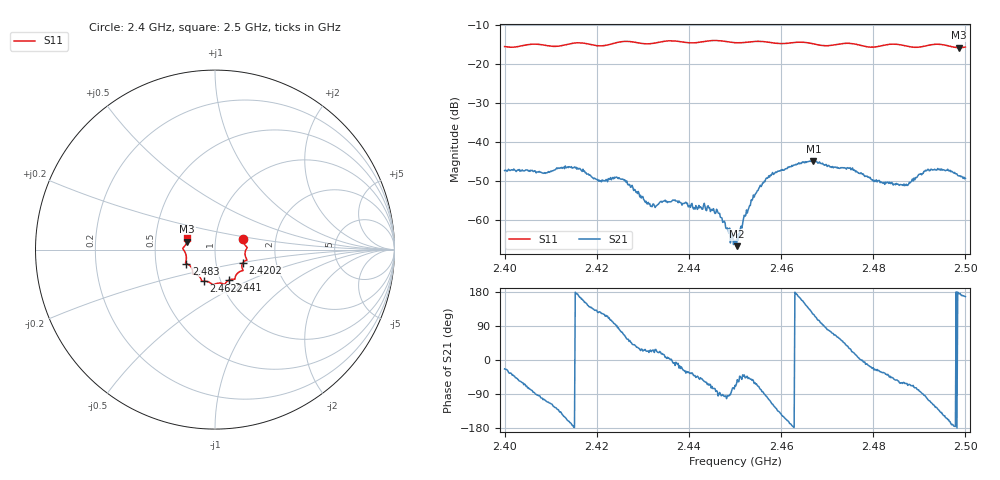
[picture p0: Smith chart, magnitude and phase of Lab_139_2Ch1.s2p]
# Hz S RI R
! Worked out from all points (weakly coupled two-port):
!   601 points, 2.4 GHz to 2.5 GHz, reference 50 ohm
!   highest |S21| = -44.82 dB at 2.467 GHz (marker M1); lowest = -66.7 dB at 2.4503 GHz (marker M2)
!   lowest |S11| = -15.8 dB at 2.4987 GHz (marker M3), VSWR 1.39, Z = 36.4 + j3.28 ohm
!   |S11| at or under -10 dB: start of sweep to end of sweep
!   S12 and S22 are empty: the file has one direction only
!   S11 on the Smith chart (normalised r, x): 2.4 GHz: 1.36, +0.17; 2.4202 GHz: 1.35, -0.20; 2.441 GHz: 1.10, -0.39; 2.4622 GHz: 0.83, -0.30; 2.483 GHz: 0.72, -0.12; 2.5 GHz: 0.73, +0.09
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2.4e9  0.1562 0.0605  0.00396 -0.00173  0 0  0 0
2.416667e9  0.1776 -0.0583  -0.00409 0.00143  0 0  0 0
2.420167e9  0.1561 -0.0719  -0.00195 0.00269  0 0  0 0
2.425333e9  0.1563 -0.1141  0.000937 0.00321  0 0  0 0
2.431333e9  0.1225 -0.1346  0.00151 0.000548  0 0  0 0
2.433333e9  0.1128 -0.1524  0.00151 0.000539  0 0  0 0
2.437e9  0.1083 -0.1653  0.00176 -0.000452  0 0  0 0
2.441e9  0.0769 -0.1704  0.00105 -0.000913  0 0  0 0
2.446333e9  0.0507 -0.1938  -0.000106 -0.00123  0 0  0 0
2.45e9  0.0266 -0.1862  0.000218 -0.00051  0 0  0 0
2.450333e9  0.0235 -0.1862  0.000218 -0.00041  0 0  0 0
2.4535e9  -0.00348 -0.1933  0.00116 -0.0014  0 0  0 0
2.455667e9  -0.0128 -0.1947  0.00054 -0.00264  0 0  0 0
2.462167e9  -0.0632 -0.1762  -0.00476 -0.000868  0 0  0 0
2.466667e9  -0.0765 -0.167  -0.00328 0.00458  0 0  0 0
2.467e9  -0.0773 -0.1644  -0.00293 0.00494  0 0  0 0
2.483e9  -0.1591 -0.078  0.00237 -0.00195  0 0  0 0
2.483333e9  -0.1609 -0.0774  0.00225 -0.00193  0 0  0 0
2.487333e9  -0.1601 -0.0557  0.00131 -0.00246  0 0  0 0
2.492167e9  -0.1753 -0.00139  -0.00131 -0.00409  0 0  0 0
2.498667e9  -0.1558 0.0439  -0.00367 0.000306  0 0  0 0
2.5e9  -0.1532 0.0628  -0.00336 0.000757  0 0  0 0
